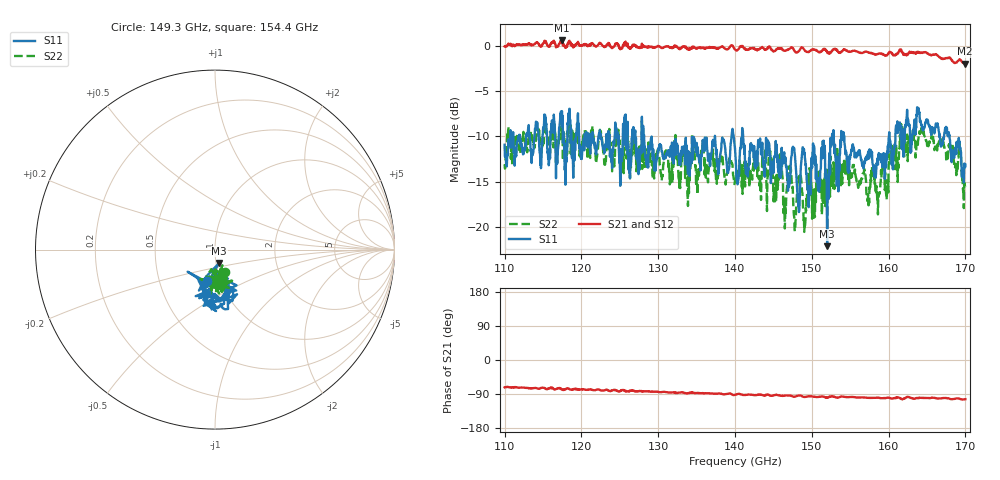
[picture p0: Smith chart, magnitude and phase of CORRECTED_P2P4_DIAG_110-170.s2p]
! Generated by Phase II Calibration
# Hz S RI R 50
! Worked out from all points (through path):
!   1471 points, 110 GHz to 170 GHz, reference 50 ohm
!   highest |S21| = 0.62 dB at 117.5 GHz (marker M1); lowest = -1.9 dB at 169.9 GHz (marker M2)
!   group delay of S21, straight-line fit = 1.5 ps
!   lowest |S11| = -22.1 dB at 152 GHz (marker M3), VSWR 1.17, Z = 51.8 - j7.78 ohm
!   |S11| at or under -10 dB: 128.2 GHz to 137.4 GHz (9.217 GHz wide, 6.94 % of centre); 141.1 GHz to 152.6 GHz (11.57 GHz wide, 7.88 % of centre); 154.2 GHz to 160 GHz (5.839 GHz wide, 3.72 % of centre)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
!   |S22| runs from -20.6 to -8.2 dB; largest |S21 - S12| = 0.018
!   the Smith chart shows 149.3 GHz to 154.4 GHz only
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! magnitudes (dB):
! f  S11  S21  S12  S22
! 110 GHz  -10.9  0.0  -0.1  -13.1
! 117.5 GHz  -7.2  0.6  0.6  -8.3
! 117.9 GHz  -13.3  -0.1  -0.1  -11.3
! 120 GHz  -11.7  0.1  0.1  -11.6
! 130 GHz  -11.3  0.0  0.0  -11.4
! 140 GHz  -11.3  -0.4  -0.4  -15.0
! 144.6 GHz  -12.0  -0.1  -0.1  -11.6
! 147.6 GHz  -11.2  -0.3  -0.4  -17.6
! 148.2 GHz  -17.7  -0.6  -0.5  -14.7
! 148.9 GHz  -11.3  -0.2  -0.3  -17.8
! 149.6 GHz  -16.4  -0.7  -0.6  -14.4
! 150 GHz  -13.2  -0.4  -0.4  -16.1
! 151.4 GHz  -10.5  -0.4  -0.4  -14.9
! 152 GHz  -22.1  -0.7  -0.7  -20.3
! 152.7 GHz  -10.4  -0.5  -0.5  -15.4
! 153.3 GHz  -14.8  -0.6  -0.5  -13.3
! 154 GHz  -10.0  -0.5  -0.6  -14.4
! 158.2 GHz  -13.5  -0.9  -0.9  -14.5
! 160 GHz  -10.2  -0.8  -0.8  -13.1
! 164.3 GHz  -8.7  -0.7  -0.7  -9.0
! 169.9 GHz  -13.1  -1.9  -2.0  -15.6
! 170 GHz  -13.1  -1.9  -2.0  -15.5
